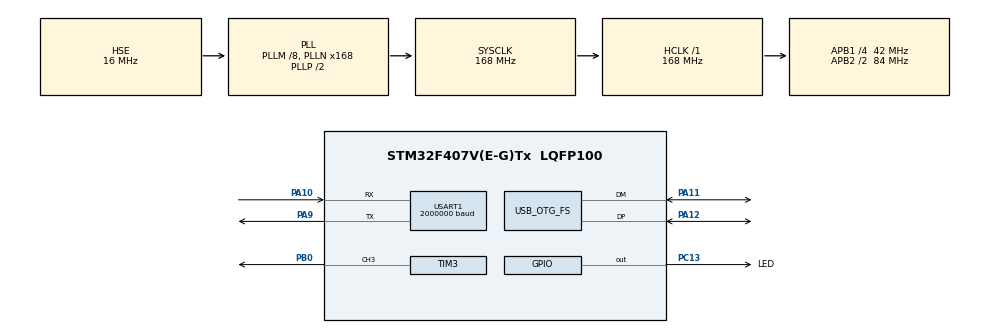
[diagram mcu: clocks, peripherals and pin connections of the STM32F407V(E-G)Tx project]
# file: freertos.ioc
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Dma.Request0=TIM3_CH3
Dma.TIM3_CH3.0.Direction=DMA_MEMORY_TO_PERIPH
Dma.TIM3_CH3.0.FIFOMode=DMA_FIFOMODE_DISABLE
Dma.TIM3_CH3.0.Instance=DMA1_Stream7
Dma.TIM3_CH3.0.MemDataAlignment=DMA_MDATAALIGN_HALFWORD
Dma.TIM3_CH3.0.MemInc=DMA_MINC_ENABLE
Dma.TIM3_CH3.0.Mode=DMA_CIRCULAR
Dma.TIM3_CH3.0.PeriphDataAlignment=DMA_PDATAALIGN_HALFWORD
Dma.TIM3_CH3.0.PeriphInc=DMA_PINC_DISABLE
Dma.TIM3_CH3.0.Priority=DMA_PRIORITY_LOW
FREERTOS.BinarySemaphores01=ledSemaphore,Dynamic,NULL,Available
FREERTOS.Mutexes01=printMutex,Dynamic,NULL,Available;ledMutex,Dynamic,NULL,Available;ws2812Mutex,Dynamic,NULL,Available
FREERTOS.Queues01=tickQueue,3,uint32_t,0,Dynamic,NULL,NULL;wasmCtlQueue,2,uint16_t,0,Dynamic,NULL,NULL
FREERTOS.Tasks01=defaultTask,24,128,startDefaultTask,Default,NULL,Dynamic,NULL,NULL;ledTask,8,128,startLedTask,Default,NULL,Dynamic,NULL,NULL;tickTask,8,128,startTickTask,Default,NULL,Dynamic,NULL,NULL;statusTask,8,512,startStatusTask,Default,NULL,Dynamic,NULL,NULL;wasmCtlTask,8,128,startWasmCtlTask,Default,NULL,Dynamic,NULL,NULL;dfuTask,8,128,startDfuTask,Default,NULL,Dynamic,NULL,NULL
FREERTOS.configENABLE_FPU=1
FREERTOS.configGENERATE_RUN_TIME_STATS=1
FREERTOS.configTOTAL_HEAP_SIZE=16232
FREERTOS.configUSE_NEWLIB_REENTRANT=1
Mcu.Family=STM32F4
Mcu.Name=STM32F407V(E-G)Tx
Mcu.Package=LQFP100
Mcu.UserConstants=LED_CNT,104;WASM_SIZE,32
NVIC.DMA1_Stream7_IRQn=true\:5\:0\:false\:false\:true\:true\:false\:true\:true
NVIC.OTG_FS_IRQn=true\:5\:0\:false\:false\:true\:true\:true\:false\:true
NVIC.PriorityGroup=NVIC_PRIORITYGROUP_4
NVIC.TIM8_TRG_COM_TIM14_IRQn=true\:15\:0\:false\:false\:true\:false\:false\:true\:true
NVIC.TimeBase=TIM8_TRG_COM_TIM14_IRQn
NVIC.TimeBaseIP=TIM14
PA10.Mode=Asynchronous
PA10.Signal=USART1_RX
PA11.Mode=Device_Only
PA11.Signal=USB_OTG_FS_DM
PA12.Mode=Device_Only
PA12.Signal=USB_OTG_FS_DP
PA13.Mode=Trace_Asynchronous_SW
PA13.Signal=SYS_JTMS-SWDIO
PA14.Mode=Trace_Asynchronous_SW
PA14.Signal=SYS_JTCK-SWCLK
PA9.Mode=Asynchronous
PA9.Signal=USART1_TX
PB0.Signal=S_TIM3_CH3
PB3.Mode=Trace_Asynchronous_SW
PB3.Signal=SYS_JTDO-SWO
PC13-ANTI_TAMP.GPIO_Label=LED
PC13-ANTI_TAMP.Signal=GPIO_Output
PH0-OSC_IN.Mode=HSE-External-Oscillator
PH0-OSC_IN.Signal=RCC_OSC_IN
PH1-OSC_OUT.Mode=HSE-External-Oscillator
PH1-OSC_OUT.Signal=RCC_OSC_OUT
ProjectManager.HeapSize=0x200
ProjectManager.StackSize=0x400
ProjectManager.TargetToolchain=STM32CubeIDE
RCC.48MHZClocksFreq_Value=48000000
RCC.AHBFreq_Value=168000000
RCC.APB1CLKDivider=RCC_HCLK_DIV4
RCC.APB1Freq_Value=42000000
RCC.APB1TimFreq_Value=84000000
RCC.APB2CLKDivider=RCC_HCLK_DIV2
RCC.APB2Freq_Value=84000000
RCC.APB2TimFreq_Value=168000000
RCC.CortexFreq_Value=168000000
RCC.HCLKFreq_Value=168000000
RCC.HSE_VALUE=16000000
RCC.HSI_VALUE=16000000
RCC.LSE_VALUE=32768
RCC.PLLM=8
RCC.PLLN=168
RCC.PLLQ=7
RCC.SYSCLKFreq_VALUE=168000000
RCC.SYSCLKSource=RCC_SYSCLKSOURCE_PLLCLK
RCC.VCOOutputFreq_Value=336000000
SH.S_TIM3_CH3.0=TIM3_CH3,PWM Generation3 CH3
TIM13.Period=100 - 1
TIM13.Prescaler=84 - 1
TIM3.Channel-PWM\ Generation3\ CH3=TIM_CHANNEL_3
TIM3.Period=LED_CNT
TIM3.TIM_MasterOutputTrigger=TIM_TRGO_UPDATE
USART1.BaudRate=2000000
USART1.VirtualMode=VM_ASYNC
USB_OTG_FS.VirtualMode=Device_Only
VP_FREERTOS_VS_CMSIS_V2.Mode=CMSIS_V2
VP_SYS_VS_tim14.Mode=TIM14
VP_TIM13_VS_ClockSourceINT.Mode=Enable_Timer
VP_TIM3_VS_ClockSourceINT.Mode=Internal
board=custom

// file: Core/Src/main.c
/* USER CODE BEGIN Header */
/**
 ******************************************************************************
 * @file           : main.c
 * @brief          : Main program body
 ******************************************************************************
 * @attention
 *
 * Copyright (c) 2026 STM32World <lth@stm23world.com>
 * All rights reserved.
 *
 * This software is licensed under terms that can be found in the LICENSE file
 * in the root directory of this software component.
 * If no LICENSE file comes with this software, it is provided AS-IS.
 *
 ******************************************************************************
 */
/* USER CODE END Header */
#include "main.h"
#include "cmsis_os.h"

/* USER CODE BEGIN Includes */
#include <stdlib.h>
#include <stdio.h>

#include "tusb.h"

#include "wasm3.h"
#include "m3_env.h"

#include "ws2812.h"
/* USER CODE END Includes */

TIM_HandleTypeDef htim3;
TIM_HandleTypeDef htim13;
DMA_HandleTypeDef hdma_tim3_ch3;

UART_HandleTypeDef huart1;

PCD_HandleTypeDef hpcd_USB_OTG_FS;

/* Definitions for defaultTask */
osThreadId_t defaultTaskHandle;
const osThreadAttr_t defaultTask_attributes = {
  .name = "defaultTask",
  .stack_size = 128 * 4,
  .priority = (osPriority_t) osPriorityNormal,
};
/* Definitions for ledTask */
osThreadId_t ledTaskHandle;
const osThreadAttr_t ledTask_attributes = {
  .name = "ledTask",
  .stack_size = 128 * 4,
  .priority = (osPriority_t) osPriorityLow,
};
/* Definitions for tickTask */
osThreadId_t tickTaskHandle;
const osThreadAttr_t tickTask_attributes = {
  .name = "tickTask",
  .stack_size = 128 * 4,
  .priority = (osPriority_t) osPriorityLow,
};
/* Definitions for statusTask */
osThreadId_t statusTaskHandle;
const osThreadAttr_t statusTask_attributes = {
  .name = "statusTask",
  .stack_size = 512 * 4,
  .priority = (osPriority_t) osPriorityLow,
};
/* Definitions for wasmCtlTask */
osThreadId_t wasmCtlTaskHandle;
const osThreadAttr_t wasmCtlTask_attributes = {
  .name = "wasmCtlTask",
  .stack_size = 128 * 4,
  .priority = (osPriority_t) osPriorityLow,
};
/* Definitions for dfuTask */
osThreadId_t dfuTaskHandle;
const osThreadAttr_t dfuTask_attributes = {
  .name = "dfuTask",
  .stack_size = 128 * 4,
  .priority = (osPriority_t) osPriorityLow,
};
/* Definitions for tickQueue */
osMessageQueueId_t tickQueueHandle;
const osMessageQueueAttr_t tickQueue_attributes = {
  .name = "tickQueue"
};
/* Definitions for wasmCtlQueue */
osMessageQueueId_t wasmCtlQueueHandle;
const osMessageQueueAttr_t wasmCtlQueue_attributes = {
  .name = "wasmCtlQueue"
};
/* Definitions for printMutex */
osMutexId_t printMutexHandle;
const osMutexAttr_t printMutex_attributes = {
  .name = "printMutex"
};
/* Definitions for ledMutex */
osMutexId_t ledMutexHandle;
const osMutexAttr_t ledMutex_attributes = {
  .name = "ledMutex"
};
/* Definitions for ws2812Mutex */
osMutexId_t ws2812MutexHandle;
const osMutexAttr_t ws2812Mutex_attributes = {
  .name = "ws2812Mutex"
};
/* Definitions for ledSemaphore */
osSemaphoreId_t ledSemaphoreHandle;
const osSemaphoreAttr_t ledSemaphore_attributes = {
  .name = "ledSemaphore"
};
/* USER CODE BEGIN PV */

// Let's define our wasm task
osThreadId_t wasmTaskHandle;
const osThreadAttr_t wasmTask_attributes = {
        .name = "wasmTask",
        .stack_size = 512 * 4,
        .priority = (osPriority_t) osPriorityLow,
};

// Counter updated from high freq timer
volatile unsigned long ulHighFrequencyTimerTicks;

ws2812_handleTypeDef ws2812; // The WS2812 panel handler

// Pre-allocate all the heap for FreeRTOS.  FreeRTOS will do this by itself if this define is
// not set.
#ifdef configAPPLICATION_ALLOCATED_HEAP
uint8_t ucHeap[configTOTAL_HEAP_SIZE] __attribute__((section(".ccmram"))); // Put in ccmram
#endif

//uint8_t wasm_stack[2 * 1024] __attribute__((aligned(8))); // 2KB for the Wasm stack/internal use

uint8_t wasm_buffer[32 * 1024] __attribute__((aligned(4)));
uint32_t wasm_file_size = 0;
uint32_t _dfu_start_address = 0;
volatile bool wasm_ready = false;
volatile bool upload_in_progress = false;
volatile bool wasm_should_stop = false;

/* USER CODE END PV */

void SystemClock_Config(void);
static void MX_GPIO_Init(void);
static void MX_DMA_Init(void);
static void MX_USART1_UART_Init(void);
static void MX_TIM13_Init(void);
static void MX_TIM3_Init(void);
static void MX_USB_OTG_FS_PCD_Init(void);
void startDefaultTask(void *argument);
void startLedTask(void *argument);
void startTickTask(void *argument);
void startStatusTask(void *argument);
void startWasmCtlTask(void *argument);
void startDfuTask(void *argument);

/* USER CODE BEGIN PFP */
void startWasmTask(void *argument);

/* USER CODE END PFP */

/* USER CODE BEGIN 0 */

// Send printf to uart1
int __io_putchar(int ch) {
	if (ch == '\n') {
		HAL_UART_Transmit(&huart1, (uint8_t*) "\r", 1, HAL_MAX_DELAY);
	}
	if (HAL_UART_Transmit(&huart1, (uint8_t*) &ch, 1, HAL_MAX_DELAY)
			!= HAL_OK) {
		return -1;
	}
	return ch;
}

void configureTimerForRunTimeStats(void) {
	ulHighFrequencyTimerTicks = 0;
	HAL_TIM_Base_Start_IT(&htim13);
}

unsigned long getRunTimeCounterValue(void) {
	return ulHighFrequencyTimerTicks;
}

// Done sending first half of the DMA buffer - this can now safely be updated
void HAL_TIM_PWM_PulseFinishedHalfCpltCallback(TIM_HandleTypeDef *htim) {

	if (htim->Instance == TIM3) {
		ws2812_update_buffer(&ws2812, &ws2812.dma_buffer[0]);
	}

}

// Done sending the second half of the DMA buffer - this can now be safely updated
void HAL_TIM_PWM_PulseFinishedCallback(TIM_HandleTypeDef *htim) {

	if (htim->Instance == TIM3) {
		ws2812_update_buffer(&ws2812, &ws2812.dma_buffer[BUFFER_SIZE]);
	}

}

//--------------------------------------------------------------------+
// DFU Callbacks
//--------------------------------------------------------------------+

void tud_dfu_download_cb(uint8_t alt, uint16_t block_num, uint8_t const *data,
		uint16_t length) {
	(void) alt;

	// --- DfuSe Special Command Handling (Block 0) ---
	if (block_num == 0) {

		if (length > 0) {

			if (!upload_in_progress) {
				uint16_t wasm_cmd = 1;
				osMessageQueuePut(wasmCtlQueueHandle, &wasm_cmd, 0,
						osWaitForever);
				upload_in_progress = true;
			}

			if (data[0] == 0x21 && length >= 5) {
				_dfu_start_address = data[1] | (data[2] << 8) | (data[3] << 16)
						| (data[4] << 24);
			}
			// Pass DFU_STATUS_OK to acknowledge the command
			tud_dfu_finish_flashing(DFU_STATUS_OK);
		}
		return;
	}

	// --- Normal Data Download ---
	if (block_num >= 2) {
		uint32_t offset = (block_num - 2) * CFG_TUD_DFU_XFER_BUFSIZE;

		if (offset + length <= sizeof(wasm_buffer)) {
			memcpy(wasm_buffer + offset, data, length);
			wasm_file_size = offset + length;

			// Success!
			tud_dfu_finish_flashing(DFU_STATUS_OK);
		} else {
			// Buffer overflow - tell the host something went wrong
			tud_dfu_finish_flashing(DFU_STATUS_ERR_ADDRESS);
		}
	}
}

void tud_dfu_get_status_cb(uint8_t alt, uint8_t *status) {
	(void) alt;
	// Let TinyUSB fill status[4] (state) automatically
	status[0] = DFU_STATUS_OK;
	status[1] = 10; // bwPollTimeout (10ms)
	status[2] = 0;
	status[3] = 0;
}

uint32_t tud_dfu_get_timeout_cb(uint8_t alt, uint8_t state) {
	(void) alt;
	// Return a non-zero timeout when busy to let the host poll
	if (state == DFU_DNBUSY)
		return 10;
	return 0;
}

void tud_dfu_manifest_cb(uint8_t alt) {
	(void) alt;
	wasm_ready = true;
	upload_in_progress = false;
	uint16_t wasm_cmd = 2;

	osMessageQueuePut(wasmCtlQueueHandle, &wasm_cmd, 0, osWaitForever);
}

void tud_dfu_runtime_reboot_to_dfu_cb(void) {
}

m3ApiRawFunction(host_delay) {
	m3ApiGetArg(uint32_t, ms);

	// If the DFU task signaled a stop, don't delay—just die.
	if (wasm_should_stop) {
		m3ApiTrap(m3Err_trapAbort);
	}

	osDelay(ms);
	m3ApiSuccess();
}

m3ApiRawFunction(host_set_led)
{
    m3ApiGetArg(uint32_t, led);
    m3ApiGetArg(uint32_t, r);
    m3ApiGetArg(uint32_t, g);
    m3ApiGetArg(uint32_t, b);

    osMutexWait(ws2812MutexHandle, osWaitForever);
    setLedValues(&ws2812, led, r, g, b);
    osMutexRelease(ws2812MutexHandle);

    m3ApiSuccess();
}

m3ApiRawFunction(host_zero_led_values)
{
    osMutexWait(ws2812MutexHandle, osWaitForever);
    zeroLedValues(&ws2812);
    osMutexRelease(ws2812MutexHandle);

    m3ApiSuccess();
}

/* USER CODE END 0 */

int main(void)
{

  /* MCU Configuration--------------------------------------------------------*/

  /* Reset of all peripherals, Initializes the Flash interface and the Systick. */
  HAL_Init();

  /* Configure the system clock */
  SystemClock_Config();

  /* Initialize all configured peripherals */
  MX_GPIO_Init();
  MX_DMA_Init();
  MX_USART1_UART_Init();
  MX_TIM13_Init();
  MX_TIM3_Init();
  MX_USB_OTG_FS_PCD_Init();
  /* USER CODE BEGIN 2 */

	printf("\n\n\n\nStarting WASM demo\n");

	printf("Firing up ws2812\n");
	ws2812_init(&ws2812, &htim3, TIM_CHANNEL_3, 512);
	zeroLedValues(&ws2812);

	//setLedValues(&ws2812, 0, 10, 0, 10);

	//run_wasm();

  /* USER CODE END 2 */

  /* Init scheduler */
  osKernelInitialize();
  /* Create the mutex(es) */
  /* creation of printMutex */
  printMutexHandle = osMutexNew(&printMutex_attributes);

  /* creation of ledMutex */
  ledMutexHandle = osMutexNew(&ledMutex_attributes);

  /* creation of ws2812Mutex */
  ws2812MutexHandle = osMutexNew(&ws2812Mutex_attributes);

  /* Create the semaphores(s) */
  /* creation of ledSemaphore */
  ledSemaphoreHandle = osSemaphoreNew(1, 1, &ledSemaphore_attributes);

  /* Create the queue(s) */
  /* creation of tickQueue */
  tickQueueHandle = osMessageQueueNew (3, sizeof(uint32_t), &tickQueue_attributes);

  /* creation of wasmCtlQueue */
  wasmCtlQueueHandle = osMessageQueueNew (2, sizeof(uint16_t), &wasmCtlQueue_attributes);

  /* Create the thread(s) */
  /* creation of defaultTask */
  defaultTaskHandle = osThreadNew(startDefaultTask, NULL, &defaultTask_attributes);

  /* creation of ledTask */
  ledTaskHandle = osThreadNew(startLedTask, NULL, &ledTask_attributes);

  /* creation of tickTask */
  tickTaskHandle = osThreadNew(startTickTask, NULL, &tickTask_attributes);

  /* creation of statusTask */
  statusTaskHandle = osThreadNew(startStatusTask, NULL, &statusTask_attributes);

  /* creation of wasmCtlTask */
  wasmCtlTaskHandle = osThreadNew(startWasmCtlTask, NULL, &wasmCtlTask_attributes);

  /* creation of dfuTask */
  dfuTaskHandle = osThreadNew(startDfuTask, NULL, &dfuTask_attributes);

  /* Start scheduler */
  osKernelStart();

  /* We should never get here as control is now taken by the scheduler */

  /* Infinite loop */
	while (1) {

	}
}

void SystemClock_Config(void)
{
  RCC_OscInitTypeDef RCC_OscInitStruct = {0};
  RCC_ClkInitTypeDef RCC_ClkInitStruct = {0};

  /** Configure the main internal regulator output voltage
  */
  __HAL_RCC_PWR_CLK_ENABLE();
  __HAL_PWR_VOLTAGESCALING_CONFIG(PWR_REGULATOR_VOLTAGE_SCALE1);

  /** Initializes the RCC Oscillators according to the specified parameters
  * in the RCC_OscInitTypeDef structure.
  */
  RCC_OscInitStruct.OscillatorType = RCC_OSCILLATORTYPE_HSE;
  RCC_OscInitStruct.HSEState = RCC_HSE_ON;
  RCC_OscInitStruct.PLL.PLLState = RCC_PLL_ON;
  RCC_OscInitStruct.PLL.PLLSource = RCC_PLLSOURCE_HSE;
  RCC_OscInitStruct.PLL.PLLM = 8;
  RCC_OscInitStruct.PLL.PLLN = 168;
  RCC_OscInitStruct.PLL.PLLP = RCC_PLLP_DIV2;
  RCC_OscInitStruct.PLL.PLLQ = 7;
  if (HAL_RCC_OscConfig(&RCC_OscInitStruct) != HAL_OK)
  {
    Error_Handler();
  }

  /** Initializes the CPU, AHB and APB buses clocks
  */
  RCC_ClkInitStruct.ClockType = RCC_CLOCKTYPE_HCLK|RCC_CLOCKTYPE_SYSCLK
                              |RCC_CLOCKTYPE_PCLK1|RCC_CLOCKTYPE_PCLK2;
  RCC_ClkInitStruct.SYSCLKSource = RCC_SYSCLKSOURCE_PLLCLK;
  RCC_ClkInitStruct.AHBCLKDivider = RCC_SYSCLK_DIV1;
  RCC_ClkInitStruct.APB1CLKDivider = RCC_HCLK_DIV4;
  RCC_ClkInitStruct.APB2CLKDivider = RCC_HCLK_DIV2;

  if (HAL_RCC_ClockConfig(&RCC_ClkInitStruct, FLASH_LATENCY_5) != HAL_OK)
  {
    Error_Handler();
  }
}

static void MX_TIM3_Init(void)
{

  TIM_ClockConfigTypeDef sClockSourceConfig = {0};
  TIM_MasterConfigTypeDef sMasterConfig = {0};
  TIM_OC_InitTypeDef sConfigOC = {0};

  htim3.Instance = TIM3;
  htim3.Init.Prescaler = 0;
  htim3.Init.CounterMode = TIM_COUNTERMODE_UP;
  htim3.Init.Period = LED_CNT;
  htim3.Init.ClockDivision = TIM_CLOCKDIVISION_DIV1;
  htim3.Init.AutoReloadPreload = TIM_AUTORELOAD_PRELOAD_DISABLE;
  if (HAL_TIM_Base_Init(&htim3) != HAL_OK)
  {
    Error_Handler();
  }
  sClockSourceConfig.ClockSource = TIM_CLOCKSOURCE_INTERNAL;
  if (HAL_TIM_ConfigClockSource(&htim3, &sClockSourceConfig) != HAL_OK)
  {
    Error_Handler();
  }
  if (HAL_TIM_PWM_Init(&htim3) != HAL_OK)
  {
    Error_Handler();
  }
  sMasterConfig.MasterOutputTrigger = TIM_TRGO_UPDATE;
  sMasterConfig.MasterSlaveMode = TIM_MASTERSLAVEMODE_DISABLE;
  if (HAL_TIMEx_MasterConfigSynchronization(&htim3, &sMasterConfig) != HAL_OK)
  {
    Error_Handler();
  }
  sConfigOC.OCMode = TIM_OCMODE_PWM1;
  sConfigOC.Pulse = 0;
  sConfigOC.OCPolarity = TIM_OCPOLARITY_HIGH;
  sConfigOC.OCFastMode = TIM_OCFAST_DISABLE;
  if (HAL_TIM_PWM_ConfigChannel(&htim3, &sConfigOC, TIM_CHANNEL_3) != HAL_OK)
  {
    Error_Handler();
  }
  HAL_TIM_MspPostInit(&htim3);

}

static void MX_TIM13_Init(void)
{

  htim13.Instance = TIM13;
  htim13.Init.Prescaler = 84 - 1;
  htim13.Init.CounterMode = TIM_COUNTERMODE_UP;
  htim13.Init.Period = 100 - 1;
  htim13.Init.ClockDivision = TIM_CLOCKDIVISION_DIV1;
  htim13.Init.AutoReloadPreload = TIM_AUTORELOAD_PRELOAD_DISABLE;
  if (HAL_TIM_Base_Init(&htim13) != HAL_OK)
  {
    Error_Handler();
  }

}

static void MX_USART1_UART_Init(void)
{

  huart1.Instance = USART1;
  huart1.Init.BaudRate = 2000000;
  huart1.Init.WordLength = UART_WORDLENGTH_8B;
  huart1.Init.StopBits = UART_STOPBITS_1;
  huart1.Init.Parity = UART_PARITY_NONE;
  huart1.Init.Mode = UART_MODE_TX_RX;
  huart1.Init.HwFlowCtl = UART_HWCONTROL_NONE;
  huart1.Init.OverSampling = UART_OVERSAMPLING_16;
  if (HAL_UART_Init(&huart1) != HAL_OK)
  {
    Error_Handler();
  }

}

static void MX_USB_OTG_FS_PCD_Init(void)
{

  hpcd_USB_OTG_FS.Instance = USB_OTG_FS;
  hpcd_USB_OTG_FS.Init.dev_endpoints = 4;
  hpcd_USB_OTG_FS.Init.speed = PCD_SPEED_FULL;
  hpcd_USB_OTG_FS.Init.dma_enable = DISABLE;
  hpcd_USB_OTG_FS.Init.phy_itface = PCD_PHY_EMBEDDED;
  hpcd_USB_OTG_FS.Init.Sof_enable = DISABLE;
  hpcd_USB_OTG_FS.Init.low_power_enable = DISABLE;
  hpcd_USB_OTG_FS.Init.lpm_enable = DISABLE;
  hpcd_USB_OTG_FS.Init.vbus_sensing_enable = DISABLE;
  hpcd_USB_OTG_FS.Init.use_dedicated_ep1 = DISABLE;
  if (HAL_PCD_Init(&hpcd_USB_OTG_FS) != HAL_OK)
  {
    Error_Handler();
  }

}

static void MX_DMA_Init(void)
{

  /* DMA controller clock enable */
  __HAL_RCC_DMA1_CLK_ENABLE();

  /* DMA interrupt init */
  /* DMA1_Stream7_IRQn interrupt configuration */
  HAL_NVIC_SetPriority(DMA1_Stream7_IRQn, 5, 0);
  HAL_NVIC_EnableIRQ(DMA1_Stream7_IRQn);

}

static void MX_GPIO_Init(void)
{
  GPIO_InitTypeDef GPIO_InitStruct = {0};

  /* GPIO Ports Clock Enable */
  __HAL_RCC_GPIOC_CLK_ENABLE();
  __HAL_RCC_GPIOH_CLK_ENABLE();
  __HAL_RCC_GPIOB_CLK_ENABLE();
  __HAL_RCC_GPIOA_CLK_ENABLE();

  /*Configure GPIO pin Output Level */
  HAL_GPIO_WritePin(LED_GPIO_Port, LED_Pin, GPIO_PIN_RESET);

  /*Configure GPIO pin : LED_Pin */
  GPIO_InitStruct.Pin = LED_Pin;
  GPIO_InitStruct.Mode = GPIO_MODE_OUTPUT_PP;
  GPIO_InitStruct.Pull = GPIO_NOPULL;
  GPIO_InitStruct.Speed = GPIO_SPEED_FREQ_LOW;
  HAL_GPIO_Init(LED_GPIO_Port, &GPIO_InitStruct);

}

/* USER CODE BEGIN 4 */
void startWasmTask(void *argument) {
    M3Result result = m3Err_none;

    osDelay(50); // Settlement delay

    if (osMutexAcquire(printMutexHandle, 100) == osOK) {
        printf("Wasm: Starting... (%lu bytes)\n", wasm_file_size);
        osMutexRelease(printMutexHandle);
    }

    // 1. Validate Header and Size
    if (wasm_file_size >= 8 && wasm_buffer[0] == 0x00 && wasm_buffer[1] == 0x61) {

        IM3Environment env = m3_NewEnvironment();
        if (env) {
            IM3Runtime runtime = m3_NewRuntime(env, 32 * 1024, NULL);
            if (runtime) {
                IM3Module module;
                result = m3_ParseModule(env, &module, wasm_buffer, wasm_file_size);

                if (result == m3Err_none) {
                    m3_LoadModule(runtime, module);
                    m3_LinkRawFunction(module, "env", "host_delay",   "v(i)",    host_delay);
                    m3_LinkRawFunction(module, "env", "host_set_led", "v(iiii)", host_set_led);
                    m3_LinkRawFunction(module, "env", "host_zero_led_values", "v()", host_zero_led_values);

                    IM3Function f;
                    result = m3_FindFunction(&f, runtime, "demo");
                    if (result == m3Err_none) {
                        if (osMutexAcquire(printMutexHandle, 100) == osOK) {
                            printf("Wasm: demo() found. Entering loop...\n");
                            osMutexRelease(printMutexHandle);
                        }
                        // Execution blocks here in the demo loop
                        result = m3_CallArgv(f, 0, NULL);
                    } else {
                        if (osMutexAcquire(printMutexHandle, 100) == osOK) {
                            printf("Wasm: Error - 'demo' not found: %s\n", result);
                            osMutexRelease(printMutexHandle);
                        }
                    }
                } else {
                    if (osMutexAcquire(printMutexHandle, 100) == osOK) {
                        printf("Wasm: Parse Error: %s\n", result);
                        osMutexRelease(printMutexHandle);
                    }
                }

                // Cleanup Runtime
                m3_FreeRuntime(runtime);
            }
            // Cleanup Environment
            m3_FreeEnvironment(env);
        }
    } else {
        if (osMutexAcquire(printMutexHandle, 100) == osOK) {
            printf("Wasm: Invalid Header or empty buffer\n");
            osMutexRelease(printMutexHandle);
        }
    }

    // 3. Final Report
    if (osMutexAcquire(printMutexHandle, 100) == osOK) {
        if (result && result != m3Err_trapAbort) {
            printf("Wasm: Finished with error: %s\n", result);
        } else {
            printf("Wasm: Task Cleanly Finished\n");
        }
        osMutexRelease(printMutexHandle);
    }

    wasmTaskHandle = NULL;
    vTaskDelete(NULL);
}
/* USER CODE END 4 */

void startDefaultTask(void *argument)
{
  /* USER CODE BEGIN 5 */

	uint32_t loop_cnt = 0;

	//uint8_t led = 0;

	/* Infinite loop */
	for (;;) {
		osDelay(100);

		if (loop_cnt % 10 == 0) {

			uint32_t tick = osKernelGetTickCount();

			osMessageQueuePut(tickQueueHandle, &tick, 0, osWaitForever);

		}

		if (loop_cnt % 5 == 0) {

			osSemaphoreRelease(ledSemaphoreHandle);

		}

//        zeroLedValues(&ws2812);
//
//        setLedValues(&ws2812, led, 10, 0, 10);
//
//        ++led;
//        if (led >= 64)
//            led = 0;

		++loop_cnt;
	}
  /* USER CODE END 5 */
}

void startLedTask(void *argument)
{
  /* USER CODE BEGIN startLedTask */

	osStatus_t ret;

	/* Infinite loop */
	for (;;) {

		ret = osSemaphoreAcquire(ledSemaphoreHandle, osWaitForever);

		if (!ret) {

			osMutexWait(ledMutexHandle, osWaitForever);

			HAL_GPIO_TogglePin(LED_GPIO_Port, LED_Pin);

			osMutexRelease(ledMutexHandle);

		}

	}
  /* USER CODE END startLedTask */
}

void startTickTask(void *argument)
{
  /* USER CODE BEGIN startTickTask */
	osStatus_t ret;

	/* Infinite loop */
	for (;;) {

		uint32_t tick;

		ret = osMessageQueueGet(tickQueueHandle, &tick, NULL, osWaitForever);

		if (ret == osOK) {

			osMutexWait(printMutexHandle, osWaitForever);

			printf("Tick %lu \n", tick / 1000);

			osMutexRelease(printMutexHandle);

		}

	}
  /* USER CODE END startTickTask */
}

void startStatusTask(void *argument)
{
  /* USER CODE BEGIN startStatusTask */
	TaskStatus_t *pxTaskStatusArray;
	volatile UBaseType_t uxArraySize, x;
	unsigned long ulTotalRunTime;
	float runtime_percentage;

	/* Infinite loop */
	for (;;) {

		osDelay(10000);

		uxArraySize = uxTaskGetNumberOfTasks();
		pxTaskStatusArray = pvPortMalloc(uxArraySize * sizeof(TaskStatus_t)); // a little bit scary!

		osMutexWait(printMutexHandle, osWaitForever);

		if (pxTaskStatusArray != NULL) {

			uxArraySize = uxTaskGetSystemState(pxTaskStatusArray, uxArraySize,
					&ulTotalRunTime);

			printf("Task count = %lu\n", uxArraySize);
			printf("No       Name          P  S   Usage       Count      HW\n");

			for (x = 0; x < uxArraySize; x++) {

				runtime_percentage = (float) (100
						* (float) pxTaskStatusArray[x].ulRunTimeCounter
						/ (float) ulTotalRunTime);

				printf("Task %2lu: %-12s %2lu %2d %8.4f (%12lu) %5i\n", x,
						pxTaskStatusArray[x].pcTaskName,
						pxTaskStatusArray[x].uxCurrentPriority,
						pxTaskStatusArray[x].eCurrentState, runtime_percentage,
						pxTaskStatusArray[x].ulRunTimeCounter,
						pxTaskStatusArray[x].usStackHighWaterMark);

			}

			vPortFree(pxTaskStatusArray);

		} else {
			printf("Unable to allocate stack space\n");
		}

		osMutexRelease(printMutexHandle);

	}
  /* USER CODE END startStatusTask */
}

void startWasmCtlTask(void *argument)
{
  /* USER CODE BEGIN startWasmCtlTask */
	uint16_t wasm_ctl_cmd;

	for (;;) {
		osMessageQueueGet(wasmCtlQueueHandle, &wasm_ctl_cmd, NULL,
				osWaitForever);

		osMutexWait(printMutexHandle, osWaitForever);
		if (wasm_ctl_cmd == 1) { // DFU Start / Stop Signal
			printf("WasmCtl: Stopping task for DFU...\n");

			if (wasmTaskHandle != NULL) {
				wasm_should_stop = true;

				// Wait for the Wasm task to hit host_delay and self-terminate
				uint8_t timeout = 0;
				while (wasmTaskHandle != NULL && timeout < 50) {
					osDelay(10);
					timeout++;
				}

				// Force delete only if the trap failed (e.g. tight loop in Wasm)
				if (wasmTaskHandle != NULL) {
					printf("WasmCtl: Force deleting stuck task\n");
					vTaskDelete(wasmTaskHandle);
					wasmTaskHandle = NULL;
				}
			}
			wasm_should_stop = false;

		} else if (wasm_ctl_cmd == 2) { // DFU Manifest / Start Signal
			printf("WasmCtl: Starting new Wasm instance...\n");

			wasmTaskHandle = osThreadNew(startWasmTask, NULL,
					&wasmTask_attributes);

			if (!wasmTaskHandle) {
				printf("WasmCtl: ERROR - Failed to start task\n");
			}
		}
		osMutexRelease(printMutexHandle);
	}
  /* USER CODE END startWasmCtlTask */
}

void startDfuTask(void *argument)
{
  /* USER CODE BEGIN startDfuTask */

	// init device stack on configured roothub port
	tusb_rhport_init_t dev_init = { .role = TUSB_ROLE_DEVICE, .speed =
			TUSB_SPEED_AUTO };
	tusb_init(BOARD_TUD_RHPORT, &dev_init);

	/* Infinite loop */
	for (;;) {
		osDelay(10);
		tud_task();
	}

  /* USER CODE END startDfuTask */
}

void HAL_TIM_PeriodElapsedCallback(TIM_HandleTypeDef *htim)
{
  if (htim->Instance == TIM14)
  {
    HAL_IncTick();
  }
}

void Error_Handler(void)
{
	__disable_irq();
	while (1) {
	}
}
